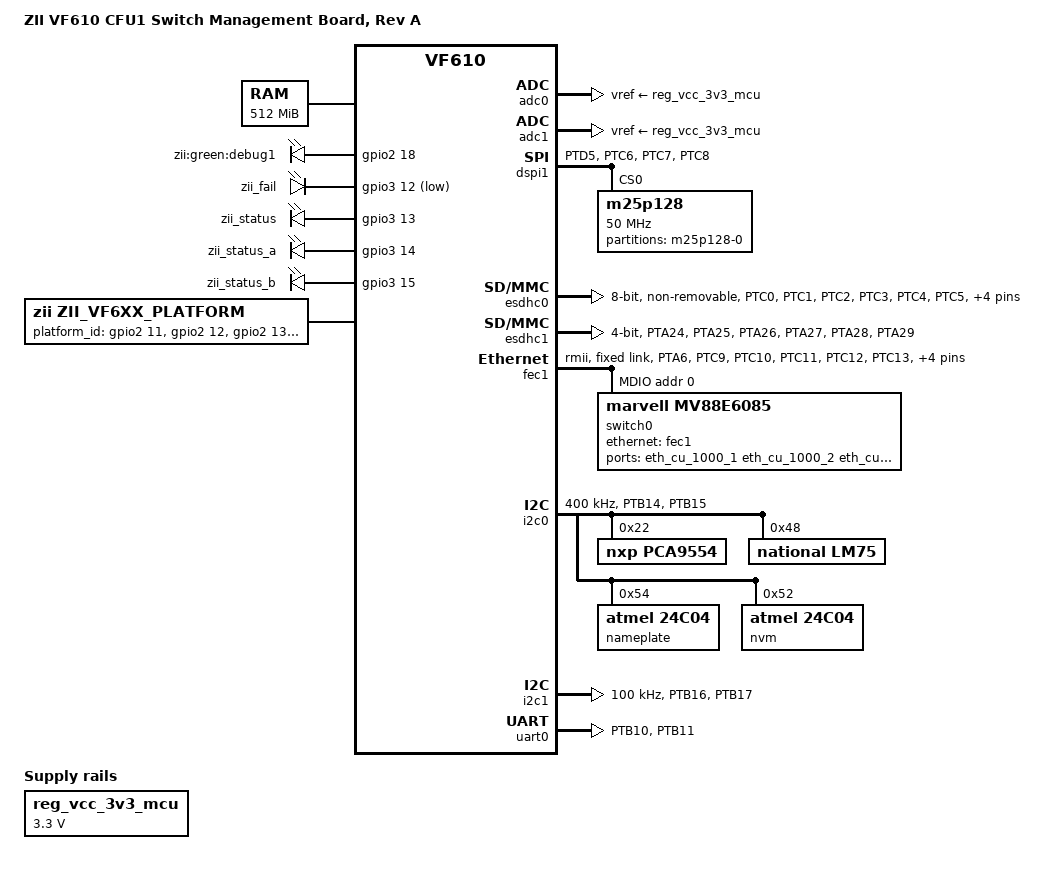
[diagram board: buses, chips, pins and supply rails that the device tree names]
/*
 * Copyright (C) 2015, 2016 Zodiac Inflight Innovations
 *
 * Based on an original 'vf610-twr.dts' which is Copyright 2015,
 * Freescale Semiconductor, Inc.
 *
 * This file is dual-licensed: you can use it either under the terms
 * of the GPL or the X11 license, at your option. Note that this dual
 * licensing only applies to this file, and not this project as a
 * whole.
 *
 *  a) This file is free software; you can redistribute it and/or
 *     modify it under the terms of the GNU General Public License
 *     version 2 as published by the Free Software Foundation.
 *
 *     This file is distributed in the hope that it will be useful
 *     but WITHOUT ANY WARRANTY; without even the implied warranty of
 *     MERCHANTABILITY or FITNESS FOR A PARTICULAR PURPOSE.  See the
 *     GNU General Public License for more details.
 *
 * Or, alternatively
 *
 *  b) Permission is hereby granted, free of charge, to any person
 *     obtaining a copy of this software and associated documentation
 *     files (the "Software"), to deal in the Software without
 *     restriction, including without limitation the rights to use
 *     copy, modify, merge, publish, distribute, sublicense, and/or
 *     sell copies of the Software, and to permit persons to whom the
 *     Software is furnished to do so, subject to the following
 *     conditions:
 *
 *     The above copyright notice and this permission notice shall be
 *     included in all copies or substantial portions of the Software.
 *
 *     THE SOFTWARE IS PROVIDED , WITHOUT WARRANTY OF ANY KIND
 *     EXPRESS OR IMPLIED, INCLUDING BUT NOT LIMITED TO THE WARRANTIES
 *     OF MERCHANTABILITY, FITNESS FOR A PARTICULAR PURPOSE AND
 *     NONINFRINGEMENT. IN NO EVENT SHALL THE AUTHORS OR COPYRIGHT
 *     HOLDERS BE LIABLE FOR ANY CLAIM, DAMAGES OR OTHER LIABILITY
 *     WHETHER IN AN ACTION OF CONTRACT, TORT OR OTHERWISE, ARISING
 *     FROM, OUT OF OR IN CONNECTION WITH THE SOFTWARE OR THE USE OR
 *     OTHER DEALINGS IN THE SOFTWARE.
 */

/dts-v1/;
#include "vf610.dtsi"

/ {
	model = "ZII VF610 CFU1 Switch Management Board, Rev A";
	compatible = "zii,vf610dev-b", "zii,vf610dev", "fsl,vf610";

	chosen {
		stdout-path = &uart0;
	};

	memory {
		reg = <0x80000000 0x20000000>;
	};

	gpio-leds {
                compatible = "gpio-leds";
                pinctrl-0 = <&pinctrl_leds_debug>;
                pinctrl-names = "default";

                debug {
                        label = "zii:green:debug1";
                        gpios = <&gpio2 18 GPIO_ACTIVE_HIGH>;
                        linux,default-trigger = "heartbeat";
			max-brightness = <1>;
		};

		fail {
			label = "zii_fail";
			gpios = <&gpio3 12 GPIO_ACTIVE_LOW>;
			default-state = "off";
			max-brightness = <1>;
		};

		status {
			label = "zii_status";
			gpios = <&gpio3 13 GPIO_ACTIVE_HIGH>;
			default-state = "off";
			max-brightness = <1>;
		};

		status_a {
			label = "zii_status_a";
			gpios = <&gpio3 14 GPIO_ACTIVE_HIGH>;
			default-state = "off";
			max-brightness = <1>;
		};

		status_b {
			label = "zii_status_b";
			gpios = <&gpio3 15 GPIO_ACTIVE_HIGH>;
			default-state = "off";
			max-brightness = <1>;
		};
	};

	zii_vf6xx_plat {
		compatible = "zii,zii_vf6xx_platform";
		platform_id-gpios = <&gpio2 11 GPIO_ACTIVE_HIGH
                         	&gpio2 12 GPIO_ACTIVE_HIGH
                         	&gpio2 13 GPIO_ACTIVE_HIGH
                         	&gpio2 14 GPIO_ACTIVE_HIGH>;
	};

	reg_vcc_3v3_mcu: regulator-vcc-3v3-mcu {
		 compatible = "regulator-fixed";
		 regulator-name = "vcc_3v3_mcu";
		 regulator-min-microvolt = <3300000>;
		 regulator-max-microvolt = <3300000>;
	};
};

&adc0 {
	vref-supply = <&reg_vcc_3v3_mcu>;
	status = "okay";
};

&adc1 {
	vref-supply = <&reg_vcc_3v3_mcu>;
	status = "okay";
};

&dspi1 {
	bus-num = <1>;
	pinctrl-names = "default";
	pinctrl-0 = <&pinctrl_dspi1>;
	status = "okay";

	m25p128@0 {
		#address-cells = <1>;
		#size-cells = <1>;
		compatible = "m25p128", "jedec,spi-nor";
		reg = <0>;
		spi-max-frequency = <50000000>;

		partition@0 {
			label = "m25p128-0";
			reg = <0x0 0x01000000>;
		};
	};
};

&edma0 {
	status = "okay";
};

&esdhc0 {
	pinctrl-names = "default";
	pinctrl-0 = <&pinctrl_esdhc0>;
	bus-width = <8>;
	non-removable;
	no-1-8-v;
	keep-power-in-suspend;
	status = "okay";
};

&esdhc1 {
	pinctrl-names = "default";
	pinctrl-0 = <&pinctrl_esdhc1>;
	bus-width = <4>;
	status = "okay";
};

&fec1 {
	phy-mode = "rmii";
	pinctrl-names = "default";
	pinctrl-0 = <&pinctrl_fec1>;
	status = "okay";

	fixed-link {
		   speed = <100>;
		   full-duplex;
	};

	mdio1: mdio {
		#address-cells = <1>;
		#size-cells = <0>;
		status = "okay";

		switch0: switch0@0 {
			compatible = "marvell,mv88e6085";
			#address-cells = <1>;
			#size-cells = <0>;
			reg = <0>;
			eeprom-length = <512>;

			ports {
				#address-cells = <1>;
				#size-cells = <0>;
				port@0 {
					reg = <0>;
					label = "eth_cu_1000_1";
				};
				port@1 {
					reg = <1>;
					label = "eth_cu_1000_2";
				};

				port@2 {
					reg = <2>;
					label = "eth_cu_1000_3";
				};

				port@5 {
					reg = <5>;
					label = "eth_fc_1000_1";
					pinctrl-names = "default";
					pinctrl-0 = <&pinctrl_optical>;
					fixed-link {
						speed = <1000>;
						full-duplex;
						link-gpios = <&gpio4 4 
						      GPIO_ACTIVE_HIGH>;
					};
				};

				port@6 {
					reg = <6>;
					label = "cpu";
					ethernet = <&fec1>;
					fixed-link {
						speed = <100>;
						full-duplex;
					};
				};
			};
		};
	};
};

&i2c0 {
	clock-frequency = <400000>;
	pinctrl-names = "default";
	pinctrl-0 = <&pinctrl_i2c0>;
	status = "okay";

	pca9554@22 {
		compatible = "nxp,pca9554";
		reg = <0x22>;
		gpio-controller;
		#gpio-cells = <2>;
	};

	lm75@48 {
		compatible = "national,lm75";
		reg = <0x48>;
	};

	nameplate: at24c04@54 {
		compatible = "atmel,24c04";
		#address-cells=<1>;
		#size-cells=<1>;
		reg = <0x54>;
		label = "nameplate";
	};

	nvm: at24c04@52 {
		compatible = "atmel,24c04";
		reg = <0x52>;
		label = "nvm";
		#address-cells=<1>;
		#size-cells=<1>;
	};
};

&i2c1 {
	clock-frequency = <100000>;
	pinctrl-names = "default";
	pinctrl-0 = <&pinctrl_i2c1>;
	status = "okay";
};

&uart0 {
	pinctrl-names = "default";
	pinctrl-0 = <&pinctrl_uart0>;
	status = "okay";

	/* ZII_INTERNAL: Disable UART DMA as it causes corruption */
	dmas = <>;
	dma-names = "";
};


&iomuxc {
	pinctrl-names = "default";
	pinctrl-0 = <&pinctrl_hog>;

	vf610-zii-cfu1 {
		pinctrl_hog: hoggrp {
			fsl,pins = <
				/* System Type */
				VF610_PAD_PTD16__GPIO_78	0x2061 /*SYS_TYPE_3*/
				VF610_PAD_PTD17__GPIO_77	0x2061 /*SYS_TYPE_2*/
				VF610_PAD_PTD18__GPIO_76	0x2061 /*SYS_TYPE_1*/
				VF610_PAD_PTD19__GPIO_75	0x2061 /*SYS_TYPE_0*/
			>;
		};

		pinctrl_dspi1: dspi1grp {
			fsl,pins = <
				VF610_PAD_PTD5__DSPI1_CS0	0x1182
				VF610_PAD_PTC6__DSPI1_SIN	0x1181
				VF610_PAD_PTC7__DSPI1_SOUT	0x1182
				VF610_PAD_PTC8__DSPI1_SCK	0x1182
			>;
		};

		pinctrl_esdhc0: esdhc0grp {
			fsl,pins = <
				VF610_PAD_PTC0__ESDHC0_CLK	0x31ef
				VF610_PAD_PTC1__ESDHC0_CMD	0x31ef
				VF610_PAD_PTC2__ESDHC0_DAT0	0x31ef
				VF610_PAD_PTC3__ESDHC0_DAT1	0x31ef
				VF610_PAD_PTC4__ESDHC0_DAT2	0x31ef
				VF610_PAD_PTC5__ESDHC0_DAT3	0x31ef
				VF610_PAD_PTD23__ESDHC0_DAT4	0x31ef
				VF610_PAD_PTD22__ESDHC0_DAT5	0x31ef
				VF610_PAD_PTD21__ESDHC0_DAT6	0x31ef
				VF610_PAD_PTD20__ESDHC0_DAT7	0x31ef
			>;
		};

		pinctrl_esdhc1: esdhc1grp {
			fsl,pins = <
				VF610_PAD_PTA24__ESDHC1_CLK	0x31ef
				VF610_PAD_PTA25__ESDHC1_CMD	0x31ef
				VF610_PAD_PTA26__ESDHC1_DAT0	0x31ef
				VF610_PAD_PTA27__ESDHC1_DAT1	0x31ef
				VF610_PAD_PTA28__ESDHC1_DATA2	0x31ef
				VF610_PAD_PTA29__ESDHC1_DAT3	0x31ef
			>;
		};

		pinctrl_fec1: fec1grp {
			fsl,pins = <
				VF610_PAD_PTA6__RMII_CLKIN		0x30d1
				VF610_PAD_PTC9__ENET_RMII1_MDC		0x30fe
				VF610_PAD_PTC10__ENET_RMII1_MDIO	0x30d3
				VF610_PAD_PTC11__ENET_RMII1_CRS		0x30d1
				VF610_PAD_PTC12__ENET_RMII1_RXD1	0x30d1
				VF610_PAD_PTC13__ENET_RMII1_RXD0	0x30d1
				VF610_PAD_PTC14__ENET_RMII1_RXER	0x30d1
				VF610_PAD_PTC15__ENET_RMII1_TXD1	0x30d2
				VF610_PAD_PTC16__ENET_RMII1_TXD0	0x30d2
				VF610_PAD_PTC17__ENET_RMII1_TXEN	0x30d2
			>;
		};

		pinctrl_i2c0: i2c0grp {
			fsl,pins = <
				VF610_PAD_PTB14__I2C0_SCL		0x37ff
				VF610_PAD_PTB15__I2C0_SDA		0x37ff
			>;
		};

		pinctrl_i2c1: i2c1grp {
			fsl,pins = <
				VF610_PAD_PTB16__I2C1_SCL		0x37ff
				VF610_PAD_PTB17__I2C1_SDA		0x37ff
			>;
		};

		pinctrl_leds_debug: pinctrl-leds-debug {
			fsl,pins = <
				VF610_PAD_PTD3__GPIO_82			0x31c2
				VF610_PAD_PTE3__GPIO_108		0x31c2
				VF610_PAD_PTE4__GPIO_109		0x31c2
				VF610_PAD_PTE5__GPIO_110		0x31c2
				VF610_PAD_PTE6__GPIO_111		0x31c2
			   >;
		};

		pinctrl_uart0: uart0grp {
			fsl,pins = <
				VF610_PAD_PTB10__UART0_TX		0x21a2
				VF610_PAD_PTB11__UART0_RX		0x21a1
			>;
		};

		pinctrl_optical: optical-grp {
			fsl,pins = <
				/* ZII_INTERNAL:
				 * PTE27 is wired to signal SD on part CONN
				 * SFF-F4 via net FIM_DS. An active high
				 * on this indicates a received optical
				 * signal

				 * SPEED=0b11 HIGH, SRE=0b0, ODE=0b0, HYS=0b0
				 * DSE=0b001 150Ohm, PUS=0b10 100k UP
				 * PKE=0b0, PUE=0b0, OBE=0b0, IBE=0b1
				 */
				 VF610_PAD_PTE27__GPIO_132       0x3061

				 /* ZII_INTERNAL
				 * PTE13 is wired to signal T_DIS on part CONN
				 * SFF-F4 via net FIM_TDIS. Setting this high
				 * will disable optical output from the SFF-F4

				 * SPEED=0b11 HIGH, SRE=0b0, ODE=0b0, HYS=0b0
				 * DSE=0b001 150Ohm, PUS=0b00 100k DOWN
				 * PKE=0b0, PUE=0b0, OBE=0b1, IBE=0b1
				 * TODO: probably want IBE=0b0
				 */
				 VF610_PAD_PTE13__GPIO_118       0x3043
			>;
		};
	};
};
